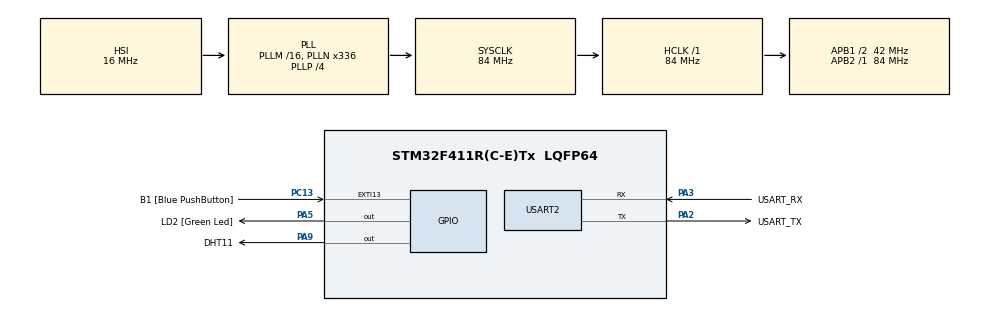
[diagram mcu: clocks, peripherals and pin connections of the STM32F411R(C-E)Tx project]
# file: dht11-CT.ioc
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Mcu.Family=STM32F4
Mcu.Name=STM32F411R(C-E)Tx
Mcu.Package=LQFP64
NVIC.PriorityGroup=NVIC_PRIORITYGROUP_0
PA13.GPIO_Label=TMS
PA13.Mode=Serial_Wire
PA13.Signal=SYS_JTMS-SWDIO
PA14.GPIO_Label=TCK
PA14.Mode=Serial_Wire
PA14.Signal=SYS_JTCK-SWCLK
PA2.GPIO_Label=USART_TX
PA2.Mode=Asynchronous
PA2.Signal=USART2_TX
PA3.GPIO_Label=USART_RX
PA3.Mode=Asynchronous
PA3.Signal=USART2_RX
PA5.GPIO_Label=LD2 [Green Led]
PA5.Signal=GPIO_Output
PA9.GPIO_Label=DHT11
PA9.Signal=GPIO_Output
PB3.GPIO_Label=SWO
PB3.Signal=SYS_JTDO-SWO
PC13-ANTI_TAMP.GPIO_Label=B1 [Blue PushButton]
PC13-ANTI_TAMP.GPIO_ModeDefaultEXTI=GPIO_MODE_IT_FALLING
PC13-ANTI_TAMP.Signal=GPXTI13
PC14-OSC32_IN.Mode=LSE-External-Oscillator
PC14-OSC32_IN.Signal=RCC_OSC32_IN
PC15-OSC32_OUT.Mode=LSE-External-Oscillator
PC15-OSC32_OUT.Signal=RCC_OSC32_OUT
PH0\ -\ OSC_IN.Mode=HSE-External-Clock-Source
PH0\ -\ OSC_IN.Signal=RCC_OSC_IN
PH1\ -\ OSC_OUT.Mode=HSE-External-Clock-Source
PH1\ -\ OSC_OUT.Signal=RCC_OSC_OUT
ProjectManager.HeapSize=0x200
ProjectManager.StackSize=0x400
ProjectManager.TargetToolchain=STM32CubeIDE
RCC.48MHZClocksFreq_Value=84000000
RCC.AHBFreq_Value=84000000
RCC.APB1CLKDivider=RCC_HCLK_DIV2
RCC.APB1Freq_Value=42000000
RCC.APB1TimFreq_Value=84000000
RCC.APB2Freq_Value=84000000
RCC.APB2TimFreq_Value=84000000
RCC.CortexFreq_Value=84000000
RCC.FLatency-AdvancedSettings=FLASH_LATENCY_2
RCC.HCLKFreq_Value=84000000
RCC.HSE_VALUE=8000000
RCC.HSI_VALUE=16000000
RCC.PLLN=336
RCC.PLLP=RCC_PLLP_DIV4
RCC.SYSCLKFreq_VALUE=84000000
RCC.SYSCLKSource=RCC_SYSCLKSOURCE_PLLCLK
RCC.VCOOutputFreq_Value=336000000
TIM3.Prescaler=83
USART2.VirtualMode=VM_ASYNC
VP_TIM3_VS_ClockSourceINT.Mode=Internal
board=NUCLEO-F411RE

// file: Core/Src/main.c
/* USER CODE BEGIN Header */
/**
  ******************************************************************************
  * @file           : main.c
  * @brief          : Main program body
  ******************************************************************************
  * @attention
  *
  * Copyright (c) 2022 STMicroelectronics.
  * All rights reserved.
  *
  * This software is licensed under terms that can be found in the LICENSE file
  * in the root directory of this software component.
  * If no LICENSE file comes with this software, it is provided AS-IS.
  *
  * Code obtained from Controllers Tech at
  * https://controllerstech.com/using-dht11-sensor-with-stm32/
  * Working!
  *
  ******************************************************************************
  */
/* USER CODE END Header */
#include "main.h"

TIM_HandleTypeDef htim3;

UART_HandleTypeDef huart2;

/* USER CODE BEGIN PV */
uint8_t Rh_byte1, Rh_byte2, Temp_byte1, Temp_byte2;
uint16_t SUM, RH, TEMP;

float Temperature = 0;
float Humidity = 0;
uint8_t Presence = 0;
/* USER CODE END PV */

void SystemClock_Config(void);
static void MX_GPIO_Init(void);
static void MX_USART2_UART_Init(void);
static void MX_TIM3_Init(void);

/* USER CODE BEGIN 0 */
void delay (uint16_t time)
{
	/* change your code here for the delay in microseconds */
	__HAL_TIM_SET_COUNTER(&htim3, 0);
	while ((__HAL_TIM_GET_COUNTER(&htim3))<time);
}

void Set_Pin_Output (GPIO_TypeDef *GPIOx, uint16_t GPIO_Pin)
{
	GPIO_InitTypeDef GPIO_InitStruct = {0};
	GPIO_InitStruct.Pin = GPIO_Pin;
	GPIO_InitStruct.Mode = GPIO_MODE_OUTPUT_PP;
	GPIO_InitStruct.Speed = GPIO_SPEED_FREQ_LOW;
	HAL_GPIO_Init(GPIOx, &GPIO_InitStruct);
}

void Set_Pin_Input (GPIO_TypeDef *GPIOx, uint16_t GPIO_Pin)
{
	GPIO_InitTypeDef GPIO_InitStruct = {0};
	GPIO_InitStruct.Pin = GPIO_Pin;
	GPIO_InitStruct.Mode = GPIO_MODE_INPUT;
	GPIO_InitStruct.Pull = GPIO_PULLUP;
	HAL_GPIO_Init(GPIOx, &GPIO_InitStruct);
}

void DHT11_Start (void)
{
	Set_Pin_Output (DHT11_GPIO_Port, DHT11_Pin);  		// set the pin as output
	HAL_GPIO_WritePin (DHT11_GPIO_Port, DHT11_Pin, 0);	// pull the pin low
	delay (18000);										// wait for 18ms
    HAL_GPIO_WritePin (DHT11_GPIO_Port, DHT11_Pin, 1);	// pull the pin high
	delay (20);											// wait for 20us
	Set_Pin_Input(DHT11_GPIO_Port, DHT11_Pin);			// set as input
}

uint8_t DHT11_Check_Response (void)
{
	uint8_t Response = 0;
	delay (40);
	if (!(HAL_GPIO_ReadPin (DHT11_GPIO_Port, DHT11_Pin)))
	{
		delay (80);
		if ((HAL_GPIO_ReadPin (DHT11_GPIO_Port, DHT11_Pin))) Response = 1;
		else Response = -1; // 255
	}
	while ((HAL_GPIO_ReadPin (DHT11_GPIO_Port, DHT11_Pin)));   // wait for the pin to go low

	return Response;
}

uint8_t DHT11_Read (void)
{
	uint8_t i,j;
	for (j=0; j<8; j++)
	{
		while (!(HAL_GPIO_ReadPin (DHT11_GPIO_Port,DHT11_Pin)));	// wait for the pin to go high
		delay (40);   												// wait for 40 us
		if (!(HAL_GPIO_ReadPin (DHT11_GPIO_Port,DHT11_Pin)))		// if the pin is low
		{
			i &= ~(1<<(7-j));   // write 0
		}
		else i |= (1<<(7-j));  // if the pin is high, write 1
		while ((HAL_GPIO_ReadPin (DHT11_GPIO_Port,DHT11_Pin)));  	// wait for the pin to go low
	}
	return i;
}
/* USER CODE END 0 */

int main(void)
{

  /* MCU Configuration--------------------------------------------------------*/

  /* Reset of all peripherals, Initializes the Flash interface and the Systick. */
  HAL_Init();

  /* Configure the system clock */
  SystemClock_Config();

  /* Initialize all configured peripherals */
  MX_GPIO_Init();
  MX_USART2_UART_Init();
  MX_TIM3_Init();
  /* USER CODE BEGIN 2 */
  HAL_TIM_Base_Start(&htim3);

  /* USER CODE END 2 */

  /* Infinite loop */
  /* USER CODE BEGIN WHILE */
  while (1)
  {
	  DHT11_Start();
	  Presence = DHT11_Check_Response();
	  Rh_byte1 = DHT11_Read ();
	  Rh_byte2 = DHT11_Read ();
	  Temp_byte1 = DHT11_Read ();
	  Temp_byte2 = DHT11_Read ();
	  SUM = DHT11_Read();

	  TEMP = Temp_byte1;
	  RH = Rh_byte1;

	  Temperature = (float) TEMP;
	  Humidity = (float) RH;

	  HAL_Delay(3000);
    /* USER CODE END WHILE */

  }
}

void SystemClock_Config(void)
{
  RCC_OscInitTypeDef RCC_OscInitStruct = {0};
  RCC_ClkInitTypeDef RCC_ClkInitStruct = {0};

  /** Configure the main internal regulator output voltage
  */
  __HAL_RCC_PWR_CLK_ENABLE();
  __HAL_PWR_VOLTAGESCALING_CONFIG(PWR_REGULATOR_VOLTAGE_SCALE1);

  /** Initializes the RCC Oscillators according to the specified parameters
  * in the RCC_OscInitTypeDef structure.
  */
  RCC_OscInitStruct.OscillatorType = RCC_OSCILLATORTYPE_HSI;
  RCC_OscInitStruct.HSIState = RCC_HSI_ON;
  RCC_OscInitStruct.HSICalibrationValue = RCC_HSICALIBRATION_DEFAULT;
  RCC_OscInitStruct.PLL.PLLState = RCC_PLL_ON;
  RCC_OscInitStruct.PLL.PLLSource = RCC_PLLSOURCE_HSI;
  RCC_OscInitStruct.PLL.PLLM = 16;
  RCC_OscInitStruct.PLL.PLLN = 336;
  RCC_OscInitStruct.PLL.PLLP = RCC_PLLP_DIV4;
  RCC_OscInitStruct.PLL.PLLQ = 4;
  if (HAL_RCC_OscConfig(&RCC_OscInitStruct) != HAL_OK)
  {
    Error_Handler();
  }

  /** Initializes the CPU, AHB and APB buses clocks
  */
  RCC_ClkInitStruct.ClockType = RCC_CLOCKTYPE_HCLK|RCC_CLOCKTYPE_SYSCLK
                              |RCC_CLOCKTYPE_PCLK1|RCC_CLOCKTYPE_PCLK2;
  RCC_ClkInitStruct.SYSCLKSource = RCC_SYSCLKSOURCE_PLLCLK;
  RCC_ClkInitStruct.AHBCLKDivider = RCC_SYSCLK_DIV1;
  RCC_ClkInitStruct.APB1CLKDivider = RCC_HCLK_DIV2;
  RCC_ClkInitStruct.APB2CLKDivider = RCC_HCLK_DIV1;

  if (HAL_RCC_ClockConfig(&RCC_ClkInitStruct, FLASH_LATENCY_2) != HAL_OK)
  {
    Error_Handler();
  }
}

static void MX_TIM3_Init(void)
{

  TIM_ClockConfigTypeDef sClockSourceConfig = {0};
  TIM_MasterConfigTypeDef sMasterConfig = {0};

  htim3.Instance = TIM3;
  htim3.Init.Prescaler = 83;
  htim3.Init.CounterMode = TIM_COUNTERMODE_UP;
  htim3.Init.Period = 65535;
  htim3.Init.ClockDivision = TIM_CLOCKDIVISION_DIV1;
  htim3.Init.AutoReloadPreload = TIM_AUTORELOAD_PRELOAD_DISABLE;
  if (HAL_TIM_Base_Init(&htim3) != HAL_OK)
  {
    Error_Handler();
  }
  sClockSourceConfig.ClockSource = TIM_CLOCKSOURCE_INTERNAL;
  if (HAL_TIM_ConfigClockSource(&htim3, &sClockSourceConfig) != HAL_OK)
  {
    Error_Handler();
  }
  sMasterConfig.MasterOutputTrigger = TIM_TRGO_RESET;
  sMasterConfig.MasterSlaveMode = TIM_MASTERSLAVEMODE_DISABLE;
  if (HAL_TIMEx_MasterConfigSynchronization(&htim3, &sMasterConfig) != HAL_OK)
  {
    Error_Handler();
  }

}

static void MX_USART2_UART_Init(void)
{

  huart2.Instance = USART2;
  huart2.Init.BaudRate = 115200;
  huart2.Init.WordLength = UART_WORDLENGTH_8B;
  huart2.Init.StopBits = UART_STOPBITS_1;
  huart2.Init.Parity = UART_PARITY_NONE;
  huart2.Init.Mode = UART_MODE_TX_RX;
  huart2.Init.HwFlowCtl = UART_HWCONTROL_NONE;
  huart2.Init.OverSampling = UART_OVERSAMPLING_16;
  if (HAL_UART_Init(&huart2) != HAL_OK)
  {
    Error_Handler();
  }

}

static void MX_GPIO_Init(void)
{
  GPIO_InitTypeDef GPIO_InitStruct = {0};

  /* GPIO Ports Clock Enable */
  __HAL_RCC_GPIOC_CLK_ENABLE();
  __HAL_RCC_GPIOH_CLK_ENABLE();
  __HAL_RCC_GPIOA_CLK_ENABLE();
  __HAL_RCC_GPIOB_CLK_ENABLE();

  /*Configure GPIO pin Output Level */
  HAL_GPIO_WritePin(GPIOA, LD2_Pin|DHT11_Pin, GPIO_PIN_RESET);

  /*Configure GPIO pin : B1_Pin */
  GPIO_InitStruct.Pin = B1_Pin;
  GPIO_InitStruct.Mode = GPIO_MODE_IT_FALLING;
  GPIO_InitStruct.Pull = GPIO_NOPULL;
  HAL_GPIO_Init(B1_GPIO_Port, &GPIO_InitStruct);

  /*Configure GPIO pins : LD2_Pin DHT11_Pin */
  GPIO_InitStruct.Pin = LD2_Pin|DHT11_Pin;
  GPIO_InitStruct.Mode = GPIO_MODE_OUTPUT_PP;
  GPIO_InitStruct.Pull = GPIO_NOPULL;
  GPIO_InitStruct.Speed = GPIO_SPEED_FREQ_LOW;
  HAL_GPIO_Init(GPIOA, &GPIO_InitStruct);

}

void Error_Handler(void)
{
  __disable_irq();
  while (1)
  {
  }
}
